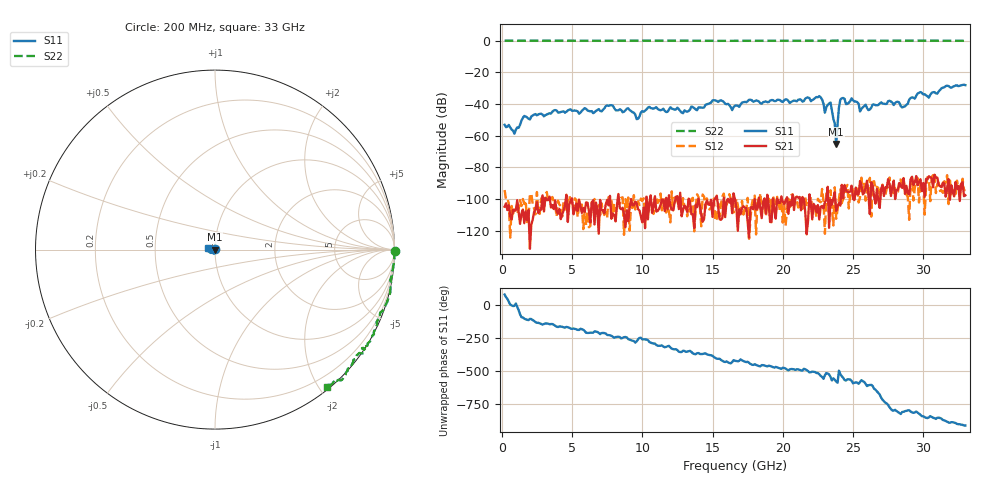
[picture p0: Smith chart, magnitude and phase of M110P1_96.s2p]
# GHZ S RI R 50
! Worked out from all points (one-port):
!   329 points, 200 MHz to 33 GHz, reference 50 ohm
!   lowest |S11| = -65.3 dB at 23.8 GHz (marker M1), VSWR 1.00, Z = 50 + j0.0364 ohm
!   |S11| at or under -10 dB: start of sweep to end of sweep
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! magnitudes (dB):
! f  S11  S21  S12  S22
! 200 MHz  -53.2  -105.0  -94.4  0.0
! 900 MHz  -58.8  -107.5  -106.7  0.0
! 1.6 GHz  -47.6  -115.4  -103.3  0.0
! 5.7 GHz  -44.3  -108.8  -103.6  -0.1
! 7.8 GHz  -40.8  -112.5  -100.6  -0.1
! 9.6 GHz  -49.6  -102.9  -102.9  0.0
! 11.2 GHz  -43.7  -106.2  -101.1  0.0
! 16.6 GHz  -41.1  -100.3  -105.0  -0.1
! 22.1 GHz  -37.6  -113.0  -105.7  0.0
! 22.7 GHz  -35.8  -105.0  -102.1  -0.1
! 23 GHz  -45.5  -102.1  -122.1  0.0
! 23.4 GHz  -39.1  -100.4  -94.6  -0.1
! 23.7 GHz  -52.3  -95.8  -92.7  0.0
! 23.8 GHz  -65.3  -107.6  -112.6  0.1
! 24 GHz  -42.2  -102.6  -99.9  0.1
! 24.2 GHz  -36.5  -91.1  -102.7  -0.1
! 25.3 GHz  -38.8  -97.3  -93.6  -0.1
! 25.5 GHz  -44.7  -88.7  -98.9  -0.1
! 27.6 GHz  -38.0  -90.6  -86.5  0.0
! 28.5 GHz  -42.3  -93.1  -94.1  0.0
! 29.8 GHz  -32.5  -87.6  -89.9  0.0
! 33 GHz  -28.1  -97.7  -94.3  -0.1
